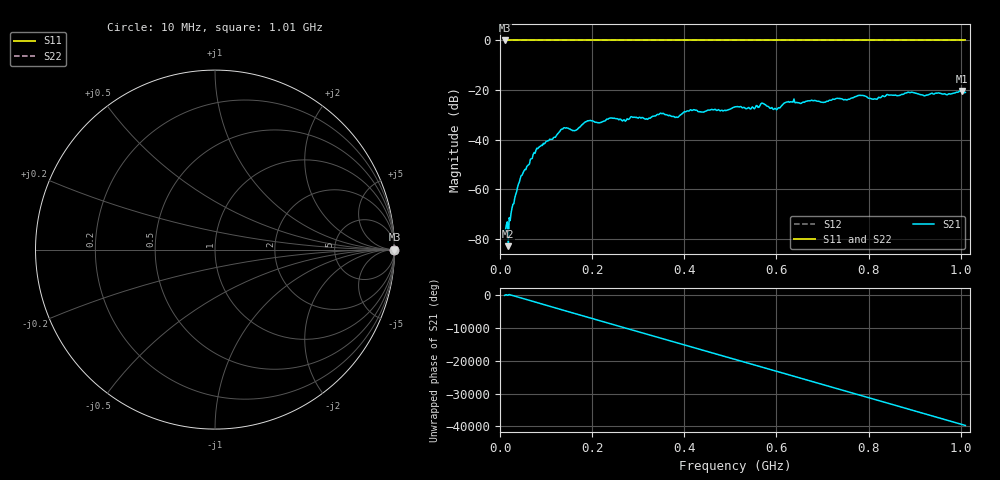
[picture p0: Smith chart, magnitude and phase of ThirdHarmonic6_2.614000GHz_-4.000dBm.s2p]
! 8/17/2025 5:44:22 AM
! C:\ANRITSUVNA\TEMP\TEMP.S2P
! CHANNEL.1
! TR.MEASUREMENT
! RAW.DATA
! RF.CORRECTION.OFF
! AVERAGING.OFF
! IF.BANDWIDTH: 5KHZ
! SWEEPTYPE:  FREQ.SWEEP(Linear)
! Reference Plane Port Info
! PORT:  PORT1  PORT2
! DISTANCE:  0  m  0  m
! TIME:  0  s  0  s
! PHASE.OFFSET:  0  deg.  0  deg.
! LOSS:  0  dB  0  dB
! REF.LOSS:  0  dB  0  dB
! REF.FREQ:  0  Hz  0  Hz
! Power Info
! POWER:  -20  dBm  -20  dBm
! EFF.POWER:  -20  dBm  -20  dBm
! SOURCE.ATTEN:  0  dB  0  dB
! TEST.ATTEN:  0  dB  0  dB
# GHZ S RI R 50.0
! FREQ.GHZ  S11RE  S11IM  S21RE  S21IM  S12RE  S12IM  S22RE  S22IM
!; PortSelection: Port_12
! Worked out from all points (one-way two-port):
!   501 points, 10 MHz to 1.01 GHz, reference 50 ohm
!   highest |S21| = -20.36 dB at 1.002 GHz (marker M1); lowest = -83.0 dB at 18 MHz (marker M2)
!   lowest |S11| = 0.0 dB at 10 MHz (marker M3)
!   |S11| at or under -10 dB: nowhere
!   |S22| runs from 0.0 to 0.0 dB; largest |S21 - S12| = 1.1
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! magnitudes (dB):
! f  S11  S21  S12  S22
! 10 MHz  0.0  -77.5  0.0  0.0
! 18 MHz  0.0  -83.0  0.0  0.0
! 42 MHz  0.0  -57.1  0.0  0.0
! 76 MHz  0.0  -45.5  0.0  0.0
! 136 MHz  0.0  -35.7  0.0  0.0
! 162 MHz  0.0  -36.4  0.0  0.0
! 178 MHz  0.0  -34.0  0.0  0.0
! 194 MHz  0.0  -32.3  0.0  0.0
! 318 MHz  0.0  -31.6  0.0  0.0
! 344 MHz  0.0  -29.9  0.0  0.0
! 384 MHz  0.0  -31.0  0.0  0.0
! 416 MHz  0.0  -28.2  0.0  0.0
! 510 MHz  0.0  -26.8  0.0  0.0
! 548 MHz  0.0  -26.8  0.0  0.0
! 570 MHz  0.0  -25.4  0.0  0.0
! 598 MHz  0.0  -27.5  0.0  0.0
! 622 MHz  0.0  -24.8  0.0  0.0
! 678 MHz  0.0  -24.2  0.0  0.0
! 814 MHz  0.0  -23.5  0.0  0.0
! 844 MHz  0.0  -22.0  0.0  0.0
! 1.002 GHz  0.0  -20.4  0.0  0.0
! 1.01 GHz  0.0  -21.0  0.0  0.0
